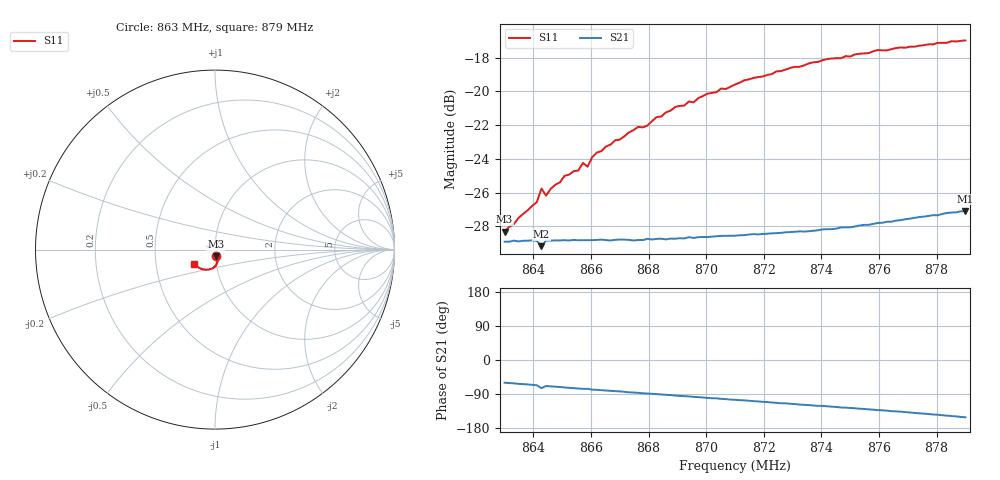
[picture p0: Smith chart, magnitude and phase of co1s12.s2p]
# HZ S RI R 50
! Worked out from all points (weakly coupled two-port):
!   101 points, 863 MHz to 879 MHz, reference 50 ohm
!   highest |S21| = -27.09 dB at 879 MHz (marker M1); lowest = -29.2 dB at 864.28 MHz (marker M2)
!   lowest |S11| = -28.3 dB at 863 MHz (marker M3), VSWR 1.08, Z = 50.2 - j3.85 ohm
!   |S11| at or under -10 dB: start of sweep to end of sweep
!   S12 and S22 are empty: the file has one direction only
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8.63e8  0.00358 -0.0383  0.018 -0.0311  0 0  0 0
8.6412e8  0.00988 -0.0459  0.0143 -0.0331  0 0  0 0
8.6428e8  0.00878 -0.0508  0.00939 -0.0335  0 0  0 0
8.6444e8  0.0112 -0.0478  0.0133 -0.0336  0 0  0 0
8.6508e8  0.0137 -0.0545  0.011 -0.0346  0 0  0 0
8.6556e8  0.0133 -0.0567  0.00923 -0.035  0 0  0 0
8.6572e8  0.0143 -0.0597  0.00871 -0.0352  0 0  0 0
8.6588e8  0.0138 -0.0582  0.00872 -0.0352  0 0  0 0
8.6604e8  0.0149 -0.0621  0.00735 -0.0355  0 0  0 0
8.662e8  0.0135 -0.0645  0.00712 -0.0356  0 0  0 0
8.6764e8  0.00983 -0.0778  0.00207 -0.0362  0 0  0 0
8.6796e8  0.0107 -0.0785  0.000958 -0.0366  0 0  0 0
8.6828e8  0.00795 -0.0835  4.3e-05 -0.0366  0 0  0 0
8.6844e8  0.00681 -0.0839  -0.000619 -0.0366  0 0  0 0
8.6892e8  0.005 -0.0897  -0.0024 -0.0365  0 0  0 0
8.694e8  0.000995 -0.0933  -0.00398 -0.0368  0 0  0 0
8.6956e8  -5e-06 -0.0927  -0.00467 -0.0365  0 0  0 0
8.7004e8  -0.00508 -0.0983  -0.00647 -0.0365  0 0  0 0
8.71e8  -0.0137 -0.1039  -0.00966 -0.0361  0 0  0 0
8.7372e8  -0.0466 -0.1126  -0.0194 -0.0334  0 0  0 0
8.7644e8  -0.0838 -0.1037  -0.0292 -0.029  0 0  0 0
8.79e8  -0.1155 -0.0816  -0.0388 -0.0213  0 0  0 0
